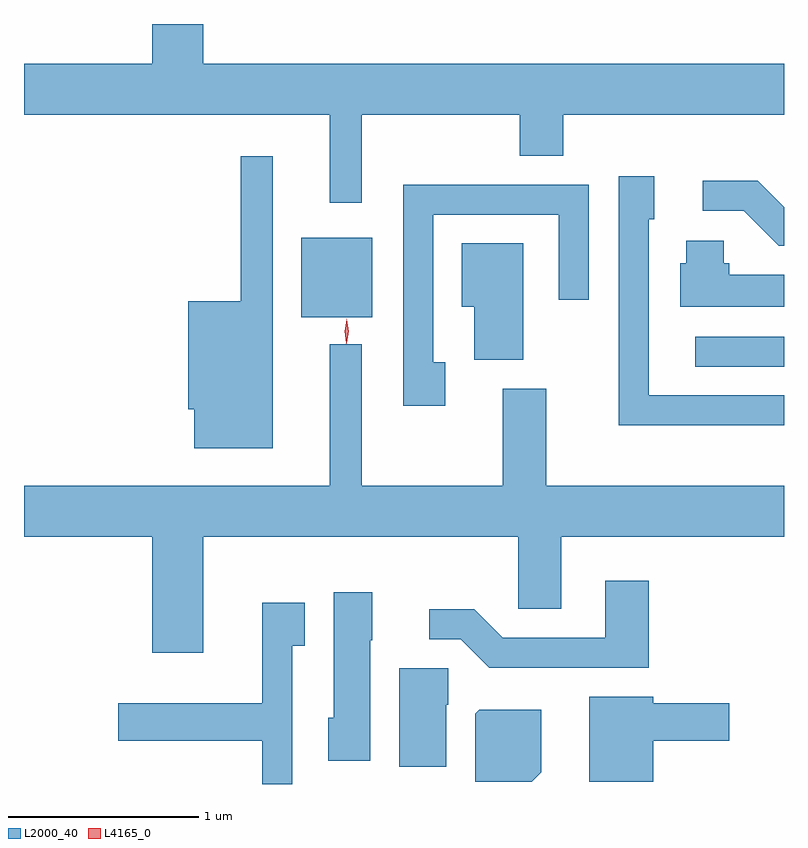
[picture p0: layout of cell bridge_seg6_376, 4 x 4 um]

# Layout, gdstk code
import gdstk
lib = gdstk.Library(unit=1e-6, precision=1e-09)
def R(c, l, rs):  # rectangles x0, y0, x1, y1
    for r in rs: c.add(gdstk.rectangle(r[:2], r[2:], *l))
def P(c, l, *ps):  # polygons
    for p in ps: c.add(gdstk.Polygon(p, *l))
L2000_40 = (2000, 40)
L4165_0 = (4165, 0)

bridge_seg6_376 = lib.new_cell('bridge_seg6_376')
R(bridge_seg6_376, L2000_40, [(977.173,1613.091,977.641,1613.249), (975.101,1613.351,975.474,1613.769)])
P(bridge_seg6_376, L2000_40, [(975.419,1614.416),(976.251,1614.416),(976.251,1614.201),(976.479,1614.201),(976.479,1614.416),(977.641,1614.416),(977.641,1614.684),(974.584,1614.684),(974.584,1614.894),(974.316,1614.894),(974.316,1614.684),(973.641,1614.684),(973.641,1614.416),(975.251,1614.416),(975.251,1613.953),(975.419,1613.953)],
  [(974.949,1614.198),(974.781,1614.198),(974.781,1613.434),(974.506,1613.434),(974.506,1612.866),(974.536,1612.866),(974.536,1612.661),(974.949,1612.661)],
  [(977.641,1612.939),(976.929,1612.939),(976.929,1613.866),(976.959,1613.866),(976.959,1614.094),(976.771,1614.094),(976.771,1612.781),(977.641,1612.781)],
  [(977.641,1613.93),(977.502,1614.069),(977.213,1614.069),(977.213,1613.911),(977.429,1613.911),(977.614,1613.726),(977.641,1613.726)],
  [(975.859,1613.114),(975.794,1613.114),(975.794,1613.891),(976.456,1613.891),(976.456,1613.443),(976.614,1613.443),(976.614,1614.049),(975.636,1614.049),(975.636,1612.886),(975.859,1612.886)],
  [(977.641,1613.574),(977.354,1613.574),(977.354,1613.634),(977.324,1613.634),(977.324,1613.754),(977.126,1613.754),(977.126,1613.634),(977.096,1613.634),(977.096,1613.406),(977.641,1613.406)],
  [(976.269,1613.739),(975.946,1613.739),(975.946,1613.406),(976.011,1613.406),(976.011,1613.126),(976.269,1613.126)],
  [(974.584,1612.196),(976.241,1612.196),(976.241,1611.816),(976.469,1611.816),(976.469,1612.196),(977.641,1612.196),(977.641,1612.464),(976.389,1612.464),(976.389,1612.974),(976.161,1612.974),(976.161,1612.464),(975.419,1612.464),(975.419,1613.208),(975.251,1613.208),(975.251,1612.464),(973.641,1612.464),(973.641,1612.196),(974.316,1612.196),(974.316,1611.586),(974.584,1611.586)],
  [(976.929,1611.964),(976.701,1611.964),(976.701,1611.664),(976.162,1611.664),(976.012,1611.814),(975.773,1611.814),(975.773,1611.656),(975.939,1611.656),(976.089,1611.506),(976.929,1611.506)],
  [(975.464,1611.65),(975.474,1611.65),(975.474,1611.904),(975.271,1611.904),(975.271,1611.244),(975.241,1611.244),(975.241,1611.016),(975.464,1611.016)],
  [(975.054,1611.621),(975.119,1611.621),(975.119,1611.849),(974.896,1611.849),(974.896,1611.319),(974.136,1611.319),(974.136,1611.121),(974.896,1611.121),(974.896,1610.894),(975.054,1610.894)],
  [(975.864,1611.31),(975.874,1611.31),(975.874,1611.504),(975.616,1611.504),(975.616,1610.986),(975.864,1610.986)],
  [(976.954,1611.121),(977.354,1611.121),(977.354,1611.319),(976.954,1611.319),(976.954,1611.354),(976.616,1611.354),(976.616,1610.906),(976.954,1610.906)],
  [(976.364,1610.957),(976.364,1611.284),(976.037,1611.284),(976.016,1611.264),(976.016,1610.906),(976.314,1610.906)])
P(bridge_seg6_376, L4165_0, [(975.338,1613.212),(975.338,1613.213),(975.329,1613.277),(975.339,1613.341),(975.339,1613.342),(975.34,1613.341),(975.349,1613.277),(975.339,1613.213)])

lib.write_gds('bridge_seg6_376.gds')
